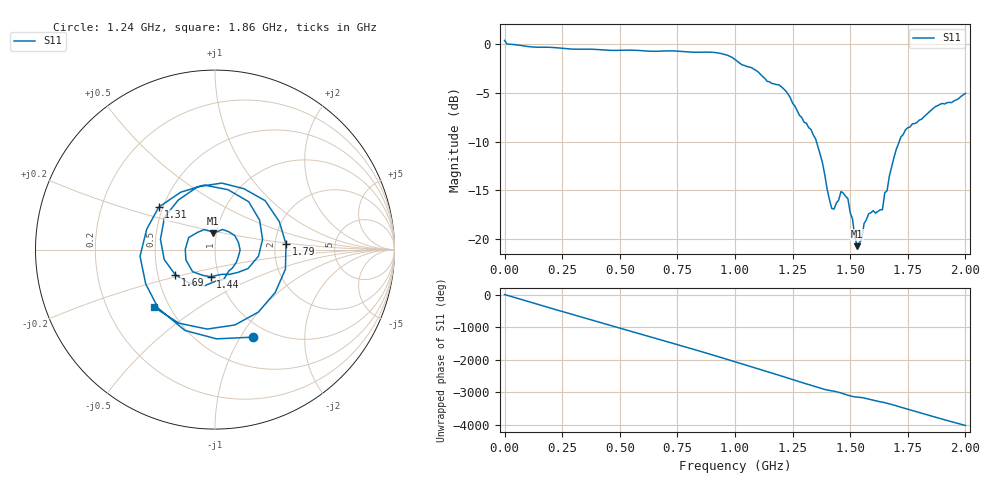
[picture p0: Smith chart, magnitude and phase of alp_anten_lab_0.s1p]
#  HZ  S  RI  R  50.00
! Rohde & Schwarz Vector Network Analyzer
! Rohde-Schwarz,ZNB8-4Port,REDACTED,3.12
! Created: UTC 3/17/2026, 11:03:58 PM
! freq[Hz]  re:S11  im:S11
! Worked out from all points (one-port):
!   201 points, 10 kHz to 2 GHz, reference 50 ohm
!   lowest |S11| = -20.7 dB at 1.53 GHz (marker M1), VSWR 1.20, Z = 47.9 + j8.79 ohm
!   |S11| at or under -10 dB: 1.353 GHz to 1.713 GHz (359.5 MHz wide, 23.4 % of centre)
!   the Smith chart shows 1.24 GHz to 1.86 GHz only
!   S11 on the Smith chart (normalised r, x): 1.24 GHz: 0.83, -1.13; 1.31 GHz: 0.48, +0.27; 1.44 GHz: 0.91, -0.28; 1.69 GHz: 0.62, -0.18; 1.79 GHz: 2.30, +0.17; 1.86 GHz: 0.41, -0.34
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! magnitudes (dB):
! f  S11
! 10 kHz  0.4
! 250 MHz  -0.4
! 500 MHz  -0.6
! 750 MHz  -0.7
! 1 GHz  -1.6
! 1.19 GHz  -4.2
! 1.24 GHz  -5.5
! 1.25 GHz  -6.1
! 1.31 GHz  -8.1
! 1.36 GHz  -10.5
! 1.42 GHz  -16.9
! 1.44 GHz  -16.3
! 1.47 GHz  -15.3
! 1.49 GHz  -15.9
! 1.5 GHz  -17.3
! 1.53 GHz  -20.7
! 1.55 GHz  -20.0
! 1.56 GHz  -18.4
! 1.58 GHz  -17.4
! 1.64 GHz  -17.0
! 1.65 GHz  -15.2
! 1.66 GHz  -15.1
! 1.69 GHz  -11.6
! 1.72 GHz  -9.5
! 1.75 GHz  -8.6
! 1.79 GHz  -8.0
! 1.86 GHz  -6.6
! 2 GHz  -5.1
